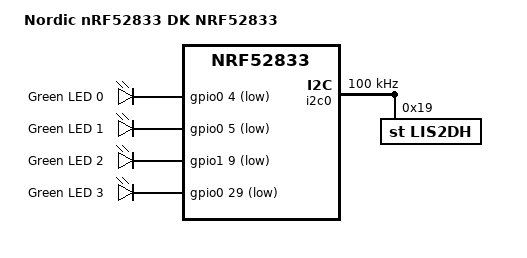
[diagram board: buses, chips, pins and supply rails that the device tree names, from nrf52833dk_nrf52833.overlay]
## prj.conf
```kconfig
# Enable Bluetooth and extended advertising features
CONFIG_BT=y
CONFIG_BT_EXT_ADV=y
CONFIG_BT_PER_ADV=y
CONFIG_BT_DEVICE_NAME="My Device"

# Enable logging with Bluetooth debug logs for easier debugging
# CONFIG_LOG=y
CONFIG_SERIAL=y
# CONFIG_BT_DEBUG_LOG=y
# CONFIG_SENSOR_LOG_LEVEL_DBG=y


# Enable power management to reduce power consumption
CONFIG_PM=y
CONFIG_PM_DEVICE=y

# Enable support for floating-point printing in logs (used in sensor data)
CONFIG_CBPRINTF_FP_SUPPORT=y

# Enable I2C for the LIS2DH sensor
CONFIG_I2C=y
CONFIG_SENSOR=y
CONFIG_LIS2DH=y

# Configure LIS2DH accelerometer settings
CONFIG_LIS2DH_OPER_MODE_LOW_POWER=y
CONFIG_LIS2DH_ACCEL_RANGE_2G=y

# Optimize Bluetooth controller configuration for extended advertising
CONFIG_BT_CTLR_ADV_DATA_LEN_MAX=1650

# Enable GPIO (for button and LED control)
CONFIG_GPIO=y
CONFIG_GPIO_NRFX=y

# Enable multithreading for concurrent task management
CONFIG_MULTITHREADING=y
CONFIG_DEBUG_OPTIMIZATIONS=y
```

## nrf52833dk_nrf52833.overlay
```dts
/ {
    model = "Nordic nRF52833 DK NRF52833";
    compatible = "nordic,nrf52833-dk-nrf52833";

    leds {
        compatible = "gpio-leds";
        led0: led_0 {
            gpios = <&gpio0 4 GPIO_ACTIVE_LOW>;
            label = "Green LED 0";
        };
        led1: led_1 {
            gpios = <&gpio0 5 GPIO_ACTIVE_LOW>;
            label = "Green LED 1";
        };
        led2: led_2 {
            gpios = <&gpio1 9 GPIO_ACTIVE_LOW>;
            label = "Green LED 2";
        };
        led3: led_3 {
            gpios = <&gpio0 29 GPIO_ACTIVE_LOW>;
            label = "Green LED 3";
        };
    };

};


&pinctrl {
    uart0_default: uart0_default {
        group1 {
            psels = <NRF_PSEL(UART_TX, 0, 29)>,
                    <NRF_PSEL(UART_RX, 0, 28)>;
        };
    };

    uart0_sleep: uart0_sleep {
        group1 {
            psels = <NRF_PSEL(UART_TX, 0, 29)>,
                    <NRF_PSEL(UART_RX, 0, 28)>;
            low-power-enable;
        };
    };

    i2c0_default: i2c0_default {
        group1 {
            psels = <NRF_PSEL(TWIM_SDA, 0, 2)>,
                    <NRF_PSEL(TWIM_SCL, 0, 3)>;
        };
    };

    i2c0_sleep: i2c0_sleep {
        group1 {
            psels = <NRF_PSEL(TWIM_SDA, 0, 2)>,
                    <NRF_PSEL(TWIM_SCL, 0, 3)>;
            low-power-enable;
        };
    };
};

&i2c0 {
    compatible = "nordic,nrf-twim";
    status = "okay";

    clock-frequency = <I2C_BITRATE_STANDARD>;

    lis2dh@19 {
        status = "okay";
        compatible = "st,lis2dh";
        reg = <0x19>;
       
        label = "LIS2DH";
        
    };
};
```

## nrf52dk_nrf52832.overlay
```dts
&i2c0 {
    compatible = "nordic,nrf-twim";
    status = "okay";

    clock-frequency = <I2C_BITRATE_STANDARD>;

    lis2dh@19 {
        status = "okay";
        compatible = "st,lis2dh";
        reg = <0x19>;
       
        label = "LIS2DH";
        
    };
};

&uart0 {
	status = "okay";
	current-speed = < 115200 >;
};

/* For node Configuration only */
//  &pinctrl {
//         uart0_default: uart0_default {
//             group1 {
//                 psels = <NRF_PSEL(UART_TX, 0, 24)>,
//                     <NRF_PSEL(UART_RX, 0, 23)>,
//                     <NRF_PSEL(UART_RTS, 0, 5)>,
//                     <NRF_PSEL(UART_CTS, 0, 7)>;
//             };
//         };
    
//         uart0_sleep: uart0_sleep {
//             group1 {
//                 psels = <NRF_PSEL(UART_TX, 0,24)>,
//                     <NRF_PSEL(UART_RX, 0, 23)>,
//                     <NRF_PSEL(UART_RTS, 0, 5)>,
//                     <NRF_PSEL(UART_CTS, 0, 7)>;
//                 low-power-enable;
//             };
//         };
    
//         i2c0_default: i2c0_default {
//             group1 {
//                 psels = <NRF_PSEL(TWIM_SDA, 0, 26)>,
//                     <NRF_PSEL(TWIM_SCL, 0, 25)>;
//             };
//         };
    
//         i2c0_sleep: i2c0_sleep {
//             group1 {
//                 psels = <NRF_PSEL(TWIM_SDA, 0, 26)>,
//                     <NRF_PSEL(TWIM_SCL, 0, 25)>;
//                 low-power-enable;
//             };
//         };
//     };

// / {
//     leds {
// 		compatible = "gpio-leds";
// 		led0: led_0 {
// 			gpios = <&gpio0 2 GPIO_ACTIVE_LOW>;
// 			label = "Green LED 0";
// 		};
// 		led1: led_1 {
// 			gpios = <&gpio0 3 GPIO_ACTIVE_LOW>;
// 			label = "Green LED 1";
// 		};
// 		led2: led_2 {
// 			gpios = <&gpio0 4 GPIO_ACTIVE_LOW>;
// 			label = "Green LED 2";
// 		};
// 		led3: led_3 {
// 			gpios = <&gpio0 28 GPIO_ACTIVE_LOW>;
// 			label = "Green LED 3";
// 		};
// 	};
// };
```

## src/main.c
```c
#include <zephyr/bluetooth/bluetooth.h> // Include Bluetooth header
#include <zephyr/zephyr.h>              // Include Zephyr kernel API
#include <zephyr/drivers/gpio.h>        // Include GPIO driver API
#include <zephyr/device.h>              // Include device driver API
#include <zephyr/pm/pm.h>               // Include power management API
#include <hal/nrf_gpio.h>               // Include Nordic GPIO HAL
#include <zephyr/drivers/sensor.h>      // Include sensor driver API

/* Define global constants */
#define SENSOR_TYPE 0x1E                   // Sensor type
#define ADV_DURATION_MS 20000              // Advertisement duration (ms)
#define FETCH_INTERVAL_MS 500              // Fetch interval (ms)
#define MOTION_DATA_SIZE 80                // Motion data buffer size
#define MFG_DATA_SIZE 246                  // Manufacturer data buffer size
#define SENSOR_ADDRESS "FA:17:DF:DF:4B:89" // Static Bluetooth Address

/* Define pin numbers */
#define LED0_PIN DT_GPIO_PIN(DT_NODELABEL(led0), gpios)   // LED0 pin
#define LED2_PIN DT_GPIO_PIN(DT_NODELABEL(led2), gpios)   // LED2 pin
#define BUTTON0_PIN DT_GPIO_PIN(DT_NODELABEL(button0), gpios) // Button0 pin

typedef struct
{
  uint8_t xLsb; // X-axis LSB
  uint8_t yLsb; // Y-axis LSB
  uint8_t zLsb; // Z-axis LSB
} MotionData_t;

/* Declare global variables */
int counter = 1;                                             // Initialize counter
static struct bt_le_ext_adv *adv;                          // Advertising structure
static const struct device *sensor = DEVICE_DT_GET_ANY(st_lis2dh); // Sensor device
static MotionData_t motionData[MOTION_DATA_SIZE];          // Motion data buffer
static uint8_t mfgData[MFG_DATA_SIZE];                     // Manufacturer data buffer

static uint32_t lastTime = 0;      // Last button press time
static uint32_t buttonCounter = 0; // Button press counter
static bool sleepFlag = true;      // Sleep flag
static int motionIndex = 0;        // Current motion data index
static int accFetchFlag = 0;       // Accelerometer fetch flag
static int err = 0;                // Error flag

struct bt_le_ext_adv_start_param extAdvParam = BT_LE_EXT_ADV_START_PARAM_INIT(0, 2); // Advertisement parameters

/* Helper functions */
static inline void enterSleep(void)
{
  printk("Entering SYSTEM-OFF mode\n");
  NRF_POWER->SYSTEMOFF = 1; // Enter power-off mode
}

static inline double roundOff(float value)
{
  return (value > 0) ? (value + 0.5f) : (value - 0.5f); // Round off float
}

static void setRandomStaticAddress(void)
{
  bt_addr_le_t addr;
  err = bt_addr_le_from_str(SENSOR_ADDRESS, "random", &addr); // Convert address string
  if (err)
  {
    printk("Invalid BT address (err %d)\n", err); // Address conversion error
    return;
  }

  err = bt_id_create(&addr, NULL); // Create Bluetooth ID
  if (err < 0)
  {
    printk("Creating new ID failed (err %d)\n", err); // ID creation error
  }
  else
  {
    printk("Created new address\n"); // Success
  }
}

static void advParamInit(void)
{
  struct bt_le_adv_param advParam = BT_LE_ADV_PARAM_INIT(
      BT_LE_ADV_OPT_NONE | BT_LE_ADV_OPT_EXT_ADV | BT_LE_ADV_OPT_USE_IDENTITY | BT_LE_ADV_OPT_NO_2M,
      BT_GAP_ADV_FAST_INT_MIN_2, BT_GAP_ADV_FAST_INT_MAX_2, NULL); // Advertisement parameters

  err = bt_le_ext_adv_create(&advParam, NULL, &adv); // Create advertisement set
  if (err)
  {
    printk("Failed to create advertising set (err %d)\n", err); // Creation error
  }
  else
  {
    printk("Created extended advertising set\n"); // Success
  }
}

static void fetchAccData(void)
{
  struct sensor_value accel[3]; // Accelerometer data

  if (!device_is_ready(sensor))
  {
    printk("Device %s is not ready\n", sensor->name); // Sensor not ready
    return;
  }

  for (int motionIdx = 0; motionIdx < MOTION_DATA_SIZE; motionIdx++)
  {
    if (sensor_sample_fetch(sensor) == 0)
    {
      if (sensor_channel_get(sensor, SENSOR_CHAN_ACCEL_XYZ, accel) == 0)
      {
        motionData[motionIdx].xLsb = (int8_t)(roundOff(accel[0].val1 * 6.4 + accel[0].val2 * 0.0000064));
        motionData[motionIdx].yLsb = (int8_t)(roundOff(accel[1].val1 * 6.4 + accel[1].val2 * 0.0000064));
        motionData[motionIdx].zLsb = (int8_t)(roundOff(accel[2].val1 * 6.4 + accel[2].val2 * 0.0000064));
      }
    }
    printf("X=%d Y=%d Z=%d\n", motionData[motionIdx].xLsb, motionData[motionIdx].yLsb, motionData[motionIdx].zLsb);
    k_msleep(100);
    accFetchFlag++;
    if (accFetchFlag >= MOTION_DATA_SIZE)
    {
      accFetchFlag = 0; // Reset flag
    }
  }
}

void repeatedAdv(void)
{
  uint8_t *accPtr = (uint8_t *)&motionData[motionIndex]; // Pointer to motion data
  mfgData[0] = SENSOR_TYPE; // Set sensor type

  for (int mfgIdx = 1; mfgIdx <= 240; mfgIdx++)
  {
    mfgData[mfgIdx] = *(accPtr++); // Copy motion data
  }

  motionIndex += MOTION_DATA_SIZE; // Update index
  if (motionIndex >= MOTION_DATA_SIZE)
  {
    motionIndex = 0; // Reset index
  }

  struct bt_data ad[] = {
      BT_DATA(BT_DATA_MANUFACTURER_DATA, mfgData, sizeof(mfgData)), // Manufacturer data
  };

  err = bt_le_ext_adv_set_data(adv, ad, ARRAY_SIZE(ad), NULL, 0); // Set advertising data
  if (err)
  {
    printk("Failed (err %d)\n", err); // Set data error
  }
}

void startAdv(void)
{
  struct bt_data ad[] = {
      BT_DATA(BT_DATA_MANUFACTURER_DATA, mfgData, sizeof(mfgData)), // Manufacturer data
  };

  err = bt_le_ext_adv_set_data(adv, ad, ARRAY_SIZE(ad), NULL, 0); // Set advertising data
  if (err)
  {
    printk("Failed to set advertising data (err %d)\n", err); // Set data error
    return;
  }

  err = bt_le_ext_adv_start(adv, &extAdvParam); // Start advertisement
  if (err)
  {
    printk("Failed to start extended advertising (err %d)\n", err); // Start error
  }
  else
  {
    printk("Advertising started.\n"); // Success
    bt_le_ext_adv_stop(adv);   // Stop advertisement
    printk("Stopped advertising.\n"); // Stop success
    printk("Entering sleep mode...\n"); // Enter sleep mode
    printk("Number of times data published: %d\n", counter); // Print counter
    k_msleep(ADV_DURATION_MS); // Sleep during advertisement
    counter++; // Increment counter
  }
}

void main(void)
{
  nrf_gpio_cfg_output(LED2_PIN); // Configure LED2 as output
  nrf_gpio_pin_set(LED2_PIN);    // Turn on LED2

  nrf_gpio_cfg_input(BUTTON0_PIN, NRF_GPIO_PIN_PULLUP);        // Configure Button0 as input with pull-up
  nrf_gpio_cfg_sense_set(BUTTON0_PIN, NRF_GPIO_PIN_SENSE_LOW); // Set Button0 to sense low

  printk("Button status=%d\n", nrf_gpio_pin_read(BUTTON0_PIN)); // Print button status

  while (nrf_gpio_pin_read(BUTTON0_PIN) == 0)
  {
    uint32_t time = k_uptime_get(); // Get current uptime
    if (buttonCounter == 0)
    {
      lastTime = time; // Record time of first press
    }

    if (time - lastTime >= 5000) // Check 5 seconds press
    {
      buttonCounter = 0; // Reset counter
      sleepFlag = false; // Clear sleep flag
      printk("Button pressed for 5 seconds..\n"); // Print message

      for (int ledIdx = 0; ledIdx <= 5; ledIdx++)
      {
        nrf_gpio_cfg_output(LED0_PIN); // Configure LED0 as output
        nrf_gpio_pin_toggle(LED0_PIN); // Toggle LED0
        k_sleep(K_MSEC(50)); // Sleep for 50ms
      }
      break; // Exit loop
    }
    buttonCounter++; // Increment counter
  }

  if (sleepFlag)
  {
    enterSleep(); // Enter sleep mode
  }

  nrf_gpio_pin_set(LED0_PIN); // Turn on LED0
  printk("Starting Periodic Advertising Demo\n"); // Print start message
  setRandomStaticAddress(); // Set random static address

  err = bt_enable(NULL); // Initialize Bluetooth
  if (err)
  {
    printk("Bluetooth init failed (err %d)\n", err); // Initialization error
    return;
  }

  advParamInit(); // Initialize advertising parameters
  k_msleep(3000); // Sleep for initialization

  while (1)
  {
    fetchAccData(); // Fetch accelerometer data
    repeatedAdv(); // Prepare advertisement data
    startAdv();    // Start advertisement
  }
}
```
